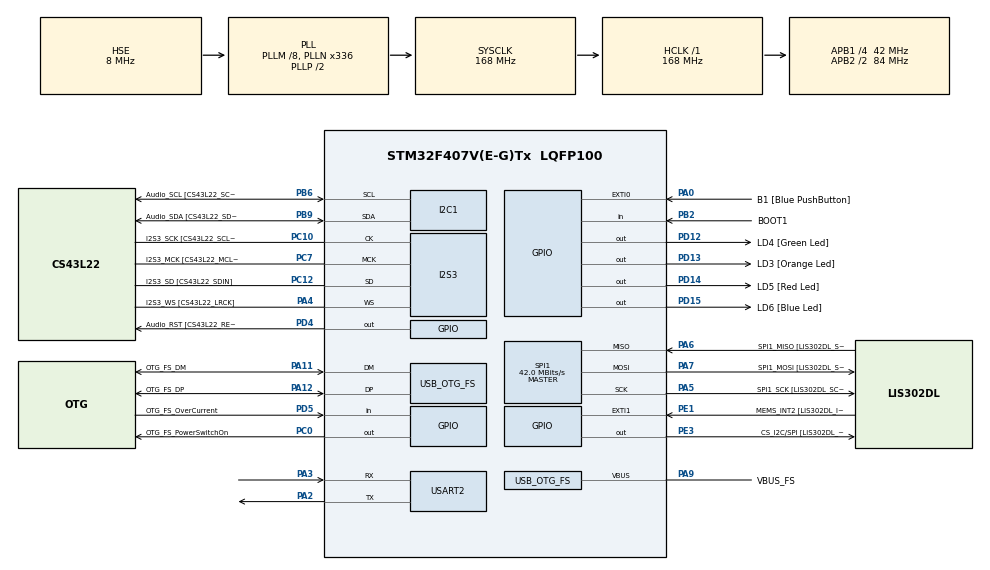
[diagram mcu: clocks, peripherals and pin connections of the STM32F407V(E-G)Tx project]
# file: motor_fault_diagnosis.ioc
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Dma.Request0=USART2_RX
Dma.USART2_RX.0.Direction=DMA_PERIPH_TO_MEMORY
Dma.USART2_RX.0.FIFOMode=DMA_FIFOMODE_DISABLE
Dma.USART2_RX.0.Instance=DMA1_Stream5
Dma.USART2_RX.0.MemDataAlignment=DMA_MDATAALIGN_BYTE
Dma.USART2_RX.0.MemInc=DMA_MINC_ENABLE
Dma.USART2_RX.0.Mode=DMA_NORMAL
Dma.USART2_RX.0.PeriphDataAlignment=DMA_PDATAALIGN_BYTE
Dma.USART2_RX.0.PeriphInc=DMA_PINC_DISABLE
Dma.USART2_RX.0.Priority=DMA_PRIORITY_HIGH
I2S3.AudioFreq-Half_Duplex_Master=I2S_AUDIOFREQ_96K
I2S3.ErrorAudioFreq=-2.34 %
I2S3.ErrorAudioFreq-Half_Duplex_Master=0.8 %
I2S3.FullDuplexMode=I2S_FULLDUPLEXMODE_DISABLE
I2S3.Instance=SPI$Index
I2S3.RealAudioFreq=93.75 KHz
I2S3.RealAudioFreq-Half_Duplex_Master=96.774 KHz
I2S3.VirtualMode=I2S_MODE_MASTER
Mcu.Family=STM32F4
Mcu.Name=STM32F407V(E-G)Tx
Mcu.Package=LQFP100
NVIC.DMA1_Stream5_IRQn=true\:0\:0\:false\:false\:true\:false\:true\:true
NVIC.OTG_FS_IRQn=true\:0\:0\:false\:false\:true\:true\:true\:true
NVIC.PriorityGroup=NVIC_PRIORITYGROUP_0
NVIC.USART2_IRQn=true\:0\:0\:false\:false\:true\:true\:true\:true
PA0-WKUP.GPIO_Label=B1 [Blue PushButton]
PA0-WKUP.GPIO_ModeDefaultEXTI=GPIO_MODE_EVT_RISING
PA0-WKUP.GPIO_PuPd=GPIO_NOPULL
PA0-WKUP.Signal=GPXTI0
PA10.GPIO_Label=OTG_FS_ID
PA10.GPIO_Mode=GPIO_MODE_AF_PP
PA10.GPIO_PuPd=GPIO_NOPULL
PA10.GPIO_Speed=GPIO_SPEED_FREQ_LOW
PA10.Signal=USB_OTG_FS_ID
PA11.GPIO_Label=OTG_FS_DM
PA11.GPIO_Mode=GPIO_MODE_AF_PP
PA11.GPIO_PuPd=GPIO_NOPULL
PA11.GPIO_Speed=GPIO_SPEED_FREQ_LOW
PA11.Mode=Host_Only
PA11.Signal=USB_OTG_FS_DM
PA12.GPIO_Label=OTG_FS_DP
PA12.GPIO_Mode=GPIO_MODE_AF_PP
PA12.GPIO_PuPd=GPIO_NOPULL
PA12.GPIO_Speed=GPIO_SPEED_FREQ_LOW
PA12.Mode=Host_Only
PA12.Signal=USB_OTG_FS_DP
PA13.GPIO_Label=SWDIO
PA13.Mode=Serial_Wire
PA13.Signal=SYS_JTMS-SWDIO
PA14.GPIO_Label=SWCLK
PA14.Mode=Serial_Wire
PA14.Signal=SYS_JTCK-SWCLK
PA2.Mode=Asynchronous
PA2.Signal=USART2_TX
PA3.Mode=Asynchronous
PA3.Signal=USART2_RX
PA4.GPIO_Label=I2S3_WS [CS43L22_LRCK]
PA4.GPIO_Mode=GPIO_MODE_AF_PP
PA4.GPIO_PuPd=GPIO_NOPULL
PA4.GPIO_Speed=GPIO_SPEED_FREQ_LOW
PA4.Mode=Half_Duplex_Master
PA4.Signal=I2S3_WS
PA5.GPIO_Label=SPI1_SCK [LIS302DL_SCL/SPC]
PA5.GPIO_Mode=GPIO_MODE_AF_PP
PA5.GPIO_PuPd=GPIO_NOPULL
PA5.GPIO_Speed=GPIO_SPEED_FREQ_LOW
PA5.Mode=Full_Duplex_Master
PA5.Signal=SPI1_SCK
PA6.GPIO_Label=SPI1_MISO [LIS302DL_SDO]
PA6.GPIO_Mode=GPIO_MODE_AF_PP
PA6.GPIO_PuPd=GPIO_NOPULL
PA6.GPIO_Speed=GPIO_SPEED_FREQ_LOW
PA6.Mode=Full_Duplex_Master
PA6.Signal=SPI1_MISO
PA7.GPIO_Label=SPI1_MOSI [LIS302DL_SDA/SDI/SDO]
PA7.GPIO_Mode=GPIO_MODE_AF_PP
PA7.GPIO_PuPd=GPIO_NOPULL
PA7.GPIO_Speed=GPIO_SPEED_FREQ_LOW
PA7.Mode=Full_Duplex_Master
PA7.Signal=SPI1_MOSI
PA9.GPIO_Label=VBUS_FS
PA9.GPIO_Mode=GPIO_MODE_INPUT
PA9.GPIO_PuPd=GPIO_NOPULL
PA9.Mode=Activate_VBUS
PA9.Signal=USB_OTG_FS_VBUS
PB10.GPIO_Label=CLK_IN [MP45DT02_CLK]
PB10.GPIO_Mode=GPIO_MODE_AF_PP
PB10.GPIO_PuPd=GPIO_NOPULL
PB10.GPIO_Speed=GPIO_SPEED_FREQ_LOW
PB10.Signal=I2S2_CK
PB2.GPIO_Label=BOOT1
PB2.GPIO_Mode=GPIO_MODE_INPUT
PB2.GPIO_PuPd=GPIO_NOPULL
PB2.Signal=GPIO_Input
PB3.GPIO_Label=SWO
PB3.Signal=SYS_JTDO-SWO
PB6.GPIO_Label=Audio_SCL [CS43L22_SCL]
PB6.GPIO_Mode=GPIO_MODE_AF_OD
PB6.GPIO_Pu=GPIO_PULLUP
PB6.GPIO_PuPd=GPIO_NOPULL
PB6.GPIO_Speed=GPIO_SPEED_FREQ_LOW
PB6.Mode=I2C
PB6.Signal=I2C1_SCL
PB9.GPIO_Label=Audio_SDA [CS43L22_SDA]
PB9.GPIO_Mode=GPIO_MODE_AF_OD
PB9.GPIO_Pu=GPIO_PULLUP
PB9.GPIO_PuPd=GPIO_NOPULL
PB9.GPIO_Speed=GPIO_SPEED_FREQ_LOW
PB9.Mode=I2C
PB9.Signal=I2C1_SDA
PC0.GPIO_Label=OTG_FS_PowerSwitchOn
PC0.GPIO_PuPd=GPIO_NOPULL
PC0.GPIO_Speed=GPIO_SPEED_FREQ_LOW
PC0.PinState=GPIO_PIN_SET
PC0.Signal=GPIO_Output
PC10.GPIO_Label=I2S3_SCK [CS43L22_SCLK]
PC10.GPIO_Mode=GPIO_MODE_AF_PP
PC10.GPIO_PuPd=GPIO_NOPULL
PC10.GPIO_Speed=GPIO_SPEED_FREQ_LOW
PC10.Mode=Half_Duplex_Master
PC10.Signal=I2S3_CK
PC12.GPIO_Label=I2S3_SD [CS43L22_SDIN]
PC12.GPIO_Mode=GPIO_MODE_AF_PP
PC12.GPIO_PuPd=GPIO_NOPULL
PC12.GPIO_Speed=GPIO_SPEED_FREQ_LOW
PC12.Mode=Half_Duplex_Master
PC12.Signal=I2S3_SD
PC14-OSC32_IN.GPIO_Label=PC14-OSC32_IN
PC14-OSC32_IN.Mode=LSE-External-Oscillator
PC14-OSC32_IN.Signal=RCC_OSC32_IN
PC15-OSC32_OUT.GPIO_Label=PC15-OSC32_OUT
PC15-OSC32_OUT.Mode=LSE-External-Oscillator
PC15-OSC32_OUT.Signal=RCC_OSC32_OUT
PC3.GPIO_Label=PDM_OUT [MP45DT02_DOUT]
PC3.GPIO_Mode=GPIO_MODE_AF_PP
PC3.GPIO_PuPd=GPIO_NOPULL
PC3.GPIO_Speed=GPIO_SPEED_FREQ_LOW
PC3.Signal=I2S2_SD
PC7.GPIO_Label=I2S3_MCK [CS43L22_MCLK]
PC7.GPIO_Mode=GPIO_MODE_AF_PP
PC7.GPIO_PuPd=GPIO_NOPULL
PC7.GPIO_Speed=GPIO_SPEED_FREQ_LOW
PC7.Mode=Master_Clock_Activated
PC7.Signal=I2S3_MCK
PD12.GPIO_Label=LD4 [Green Led]
PD12.GPIO_PuPd=GPIO_NOPULL
PD12.GPIO_Speed=GPIO_SPEED_FREQ_LOW
PD12.Signal=GPIO_Output
PD13.GPIO_Label=LD3 [Orange Led]
PD13.GPIO_PuPd=GPIO_NOPULL
PD13.GPIO_Speed=GPIO_SPEED_FREQ_LOW
PD13.Signal=GPIO_Output
PD14.GPIO_Label=LD5 [Red Led]
PD14.GPIO_PuPd=GPIO_NOPULL
PD14.GPIO_Speed=GPIO_SPEED_FREQ_LOW
PD14.Signal=GPIO_Output
PD15.GPIO_Label=LD6 [Blue Led]
PD15.GPIO_PuPd=GPIO_NOPULL
PD15.GPIO_Speed=GPIO_SPEED_FREQ_LOW
PD15.Signal=GPIO_Output
PD4.GPIO_Label=Audio_RST [CS43L22_RESET]
PD4.GPIO_PuPd=GPIO_NOPULL
PD4.GPIO_Speed=GPIO_SPEED_FREQ_LOW
PD4.Signal=GPIO_Output
PD5.GPIO_Label=OTG_FS_OverCurrent
PD5.GPIO_Mode=GPIO_MODE_INPUT
PD5.GPIO_PuPd=GPIO_NOPULL
PD5.Signal=GPIO_Input
PE1.GPIO_Label=MEMS_INT2 [LIS302DL_INT2]
PE1.GPIO_ModeDefaultEXTI=GPIO_MODE_EVT_RISING
PE1.GPIO_PuPd=GPIO_NOPULL
PE1.Signal=GPXTI1
PE3.GPIO_Label=CS_I2C/SPI [LIS302DL_CS_I2C/SPI]
PE3.GPIO_PuPd=GPIO_NOPULL
PE3.GPIO_Speed=GPIO_SPEED_FREQ_LOW
PE3.Signal=GPIO_Output
PH0-OSC_IN.GPIO_Label=PH0-OSC_IN
PH0-OSC_IN.Mode=HSE-External-Oscillator
PH0-OSC_IN.Signal=RCC_OSC_IN
PH1-OSC_OUT.GPIO_Label=PH1-OSC_OUT
PH1-OSC_OUT.Mode=HSE-External-Oscillator
PH1-OSC_OUT.Signal=RCC_OSC_OUT
ProjectManager.HeapSize=0x2000
ProjectManager.StackSize=0x4000
ProjectManager.TargetToolchain=STM32CubeIDE
RCC.48MHZClocksFreq_Value=48000000
RCC.AHBFreq_Value=168000000
RCC.APB1CLKDivider=RCC_HCLK_DIV4
RCC.APB1Freq_Value=42000000
RCC.APB1TimFreq_Value=84000000
RCC.APB2CLKDivider=RCC_HCLK_DIV2
RCC.APB2Freq_Value=84000000
RCC.APB2TimFreq_Value=168000000
RCC.CortexFreq_Value=168000000
RCC.HCLKFreq_Value=168000000
RCC.HSE_VALUE=8000000
RCC.HSI_VALUE=16000000
RCC.PLLM=8
RCC.PLLN=336
RCC.PLLQ=7
RCC.SYSCLKFreq_VALUE=168000000
RCC.SYSCLKSource=RCC_SYSCLKSOURCE_PLLCLK
RCC.VCOOutputFreq_Value=336000000
SPI1.BaudRatePrescaler=SPI_BAUDRATEPRESCALER_2
SPI1.BaudRatePrescaler-Full_Duplex_Master=SPI_BAUDRATEPRESCALER_2
SPI1.CalculateBaudRate=42.0 MBits/s
SPI1.CalculateBaudRate-Full_Duplex_Master=42.0 MBits/s
SPI1.Direction=SPI_DIRECTION_2LINES
SPI1.Mode=SPI_MODE_MASTER
SPI1.Mode-Full_Duplex_Master=SPI_MODE_MASTER
SPI1.VirtualType=VM_MASTER
STMicroelectronics.X-CUBE-AI.10.1.0.ActivationBufferSizeList=41244
STMicroelectronics.X-CUBE-AI.10.1.0.ActivationBuffers=pool0
STMicroelectronics.X-CUBE-AI.10.1.0.ActivationNames=pool0
STMicroelectronics.X-CUBE-AI.10.1.0.ActivationSizes=AI_CNN_DATA_ACTIVATION_1_SIZE
STMicroelectronics.X-CUBE-AI.10.1.0.ApplicationCcDeviceJjApplication=ApplicationTemplate
STMicroelectronics.X-CUBE-AI.10.1.0.HeapSize=0x2000
STMicroelectronics.X-CUBE-AI.10.1.0.InternalRamActivationBufferMaxSize=AI_CNN_DATA_ACTIVATIONS_SIZE
STMicroelectronics.X-CUBE-AI.10.1.0.LatestDirectoryUsed-5c631035501834cc7f4f909fd330d3be70c8ab53b2a035d140b49c0a9e1963ff=/Users/zongyan/Desktop/EMTRC/sound/UOEMD_VAFCVS
STMicroelectronics.X-CUBE-AI.10.1.0.MaximumNumberOfInputLayer=1
STMicroelectronics.X-CUBE-AI.10.1.0.MaximumNumberOfOutputLayer=1
STMicroelectronics.X-CUBE-AI.10.1.0.MaximumSizeOfInputLayer=1
STMicroelectronics.X-CUBE-AI.10.1.0.MaximumSizeOfOutputLayer=1
STMicroelectronics.X-CUBE-AI.10.1.0.ModelActualCompression-5c631035501834cc7f4f909fd330d3be70c8ab53b2a035d140b49c0a9e1963ff=0.0
STMicroelectronics.X-CUBE-AI.10.1.0.ModelCompression-5c631035501834cc7f4f909fd330d3be70c8ab53b2a035d140b49c0a9e1963ff=None
STMicroelectronics.X-CUBE-AI.10.1.0.ModelFlashOccupation-5c631035501834cc7f4f909fd330d3be70c8ab53b2a035d140b49c0a9e1963ff=161860
STMicroelectronics.X-CUBE-AI.10.1.0.ModelHashList=5c631035501834cc7f4f909fd330d3be70c8ab53b2a035d140b49c0a9e1963ff
STMicroelectronics.X-CUBE-AI.10.1.0.ModelKind-5c631035501834cc7f4f909fd330d3be70c8ab53b2a035d140b49c0a9e1963ff=TFLITE
STMicroelectronics.X-CUBE-AI.10.1.0.ModelMacc-5c631035501834cc7f4f909fd330d3be70c8ab53b2a035d140b49c0a9e1963ff=1704147
STMicroelectronics.X-CUBE-AI.10.1.0.ModelName-5c631035501834cc7f4f909fd330d3be70c8ab53b2a035d140b49c0a9e1963ff=cnn
STMicroelectronics.X-CUBE-AI.10.1.0.ModelNameList=cnn
STMicroelectronics.X-CUBE-AI.10.1.0.ModelRamOccupation-5c631035501834cc7f4f909fd330d3be70c8ab53b2a035d140b49c0a9e1963ff=37892
STMicroelectronics.X-CUBE-AI.10.1.0.ModelStructureFile-5c631035501834cc7f4f909fd330d3be70c8ab53b2a035d140b49c0a9e1963ff=/Users/zongyan/Desktop/EMTRC/sound/UOEMD_VAFCVS/best_shallow_cnn_model.tflite
STMicroelectronics.X-CUBE-AI.10.1.0.ModelType-5c631035501834cc7f4f909fd330d3be70c8ab53b2a035d140b49c0a9e1963ff=STM32Cube.AI MCU runtime
STMicroelectronics.X-CUBE-AI.10.1.0.ReadyForCodeGeneration=true
STMicroelectronics.X-CUBE-AI.10.1.0.StackSize=0x4000
STMicroelectronics.X-CUBE-AI.10.1.0.ValidationInputFile-5c631035501834cc7f4f909fd330d3be70c8ab53b2a035d140b49c0a9e1963ff=/Users/zongyan/Desktop/EMTRC/sound/UOEMD_VAFCVS/X_test_small.npy
STMicroelectronics.X-CUBE-AI.10.1.0.ValidationInputFileHistory-5c631035501834cc7f4f909fd330d3be70c8ab53b2a035d140b49c0a9e1963ff=/Users/zongyan/Desktop/EMTRC/sound/UOEMD_VAFCVS/X_test_final.npy,/Users/zongyan/Desktop/EMTRC/sound/UOEMD_VAFCVS/X_test_small.npy,/Users/zongyan/Desktop/EMTRC/sound/UOEMD_VAFCVS/X_test_stft.npy
STMicroelectronics.X-CUBE-AI.10.1.0.ValidationOutputFile-5c631035501834cc7f4f909fd330d3be70c8ab53b2a035d140b49c0a9e1963ff=/Users/zongyan/Desktop/EMTRC/sound/UOEMD_VAFCVS/y_test.npy
STMicroelectronics.X-CUBE-AI.10.1.0.ValidationOutputFileHistory-5c631035501834cc7f4f909fd330d3be70c8ab53b2a035d140b49c0a9e1963ff=/Users/zongyan/Desktop/EMTRC/sound/UOEMD_VAFCVS/y_test_final.npy,/Users/zongyan/Desktop/EMTRC/sound/UOEMD_VAFCVS/y_test.npy
STMicroelectronics.X-CUBE-AI.10.1.0.WorkingBufferStartAddrList=0xFFFFFFFF
STMicroelectronics.X-CUBE-AI.10.1.0.XAaCUBEAaAICcArtificialOoIntelligenceJjCore=true
STMicroelectronics.X-CUBE-AI.10.1.0.copyWeightToRam-5c631035501834cc7f4f909fd330d3be70c8ab53b2a035d140b49c0a9e1963ff=false
STMicroelectronics.X-CUBE-AI.10.1.0.customLayerConfigEnabled-5c631035501834cc7f4f909fd330d3be70c8ab53b2a035d140b49c0a9e1963ff=false
STMicroelectronics.X-CUBE-AI.10.1.0.noOnnxIoTranspose-5c631035501834cc7f4f909fd330d3be70c8ab53b2a035d140b49c0a9e1963ff=false
STMicroelectronics.X-CUBE-AI.10.1.0.outputDirectory-5c631035501834cc7f4f909fd330d3be70c8ab53b2a035d140b49c0a9e1963ff=/Users/zongyan/.stm32cubemx/cnn_output
STMicroelectronics.X-CUBE-AI.10.1.0.useInputAllocation-5c631035501834cc7f4f909fd330d3be70c8ab53b2a035d140b49c0a9e1963ff=true
STMicroelectronics.X-CUBE-AI.10.1.0.useOutputAllocation-5c631035501834cc7f4f909fd330d3be70c8ab53b2a035d140b49c0a9e1963ff=true
USART2.VirtualMode=VM_ASYNC
USB_HOST.BSP.number=1
USB_HOST.USBH_HandleTypeDef-CDC_FS=hUsbHostFS
USB_HOST.VirtualModeFS=Cdc
USB_HOST0.BSP.STBoard=false
USB_HOST0.BSP.api=Unknown
USB_HOST0.BSP.instance=PC0
USB_HOST0.BSP.ip=GPIO
USB_HOST0.BSP.mode=Output
USB_HOST0.BSP.name=Drive_VBUS_FS
USB_HOST0.BSP.solution=PC0
USB_OTG_FS.VirtualMode=Host_Only
USB_OTG_FS.phy_itface=HCD_PHY_EMBEDDED
VP_CRC_VS_CRC.Mode=CRC_Activate
VP_STMicroelectronics.X-CUBE-AI_VS_ArtificialOoIntelligenceJjXAaCUBEAaAI_10.1.0.Mode=ArtificialOoIntelligenceJjXAaCUBEAaAI
VP_STMicroelectronics.X-CUBE-AI_VS_DeviceJjApplication_10.1.0.Mode=DeviceJjApplication
VP_USB_HOST_VS_USB_HOST_CDC_FS.Mode=CDC_FS
board=STM32F407G-DISC1

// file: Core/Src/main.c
//Motor Fault Diagnosis code (C)
/* USER CODE BEGIN Header */
/**
 ******************************************************************************
 * @file           : main.c
 * @brief          : 簡化版 STFT 資料接收測試
 ******************************************************************************
 */
/* USER CODE END Header */
#include "main.h"
#include "usb_host.h"
#include <stdio.h>
#include <string.h>
#include <math.h>

#include "app_x-cube-ai.h"
#include "ai_datatypes_defines.h"
#include "ai_platform.h"
#include "cnn.h"
#include "cnn_data.h"
#include "cnn_data_params.h"

CRC_HandleTypeDef hcrc;

I2C_HandleTypeDef hi2c1;

I2S_HandleTypeDef hi2s3;

SPI_HandleTypeDef hspi1;

UART_HandleTypeDef huart2;
DMA_HandleTypeDef hdma_usart2_rx;

/* USER CODE BEGIN PV */
static uint8_t uart_dma_rx_buffer[4098];
__attribute__((section(".ccmram"))) static float normalized_stft[4096];
volatile uint8_t uart_dma_rx_done = 0;

volatile uint8_t diagnosis_result = 0;  // 0: 健康, 1: 故障
volatile float confidence_score = 0.0f;

extern ai_i8* data_ins[];
extern ai_i8* data_outs[];
extern int ai_run(void);
/* USER CODE END PV */

void SystemClock_Config(void);
static void MX_GPIO_Init(void);
static void MX_DMA_Init(void);
static void MX_I2C1_Init(void);
static void MX_I2S3_Init(void);
static void MX_SPI1_Init(void);
static void MX_USART2_UART_Init(void);
static void MX_CRC_Init(void);
void MX_USB_HOST_Process(void);

/* USER CODE BEGIN PFP */
void HAL_UART_RxCpltCallback(UART_HandleTypeDef *huart);
/* USER CODE END PFP */

/* USER CODE BEGIN 0 */
/**
 * @brief  正規化 STFT 數據到 [0,1] 範圍
 * @param  raw_data: 原始 8-bit 數據
 * @param  normalized_data: 正規化後的 float 數據
 */
void normalize_stft_data(uint8_t* raw_data, float* normalized_data)
{
    for (int i = 0; i < 4096; i++) {
        // 數據 (0-255) 正規化到 [0,1]
        normalized_data[i] = (float)raw_data[i] / 255.0f;
    }
}

/**
 * @brief  執行 CNN 推論
 * @param  stft_data: 正規化後的 STFT 數據
 * @return 推論結果 (0-1 之間的機率值)
 */
float perform_cnn_inference(float* stft_data)
{
    // 檢查 AI 模型是否已初始化
    if (data_ins[0] == NULL || data_outs[0] == NULL) {
        printf("AI model not initialized!\r\n");
        return -1.0f;
    }

    // 將 float 數據轉換為 ai_i8 格式並複製到輸入緩衝區
    for (int i = 0; i < 4096; i++) {
        // 根據模型需求進行數據格式轉換
        ((float*)data_ins[0])[i] = stft_data[i];
    }

    printf("Starting CNN inference...\r\n");

    // 執行 AI 推論
    if (ai_run() != 0) {
        printf("CNN inference failed!\r\n");
        return -1.0f;
    }

    // 獲取輸出結果 (sigmoid 輸出，範圍 0-1)
    float* output_data = (float*)data_outs[0];
    float result = output_data[0];

    printf("CNN inference completed. Result: %.4f\r\n", result);

    return result;
}

/**
 * @brief  根據推論結果更新診斷狀態和 LED
 * @param  inference_result: CNN 推論結果
 */
void update_diagnosis_status(float inference_result)
{
    confidence_score = inference_result;

    // 根據搜尋結果中的論文，使用 0.5 作為閾值
    if (inference_result > 0.5) {
        diagnosis_result = 1;  // 故障
        printf("DIAGNOSIS: FAULT detected (confidence: %.4f)\r\n", inference_result);

        // 紅燈亮起表示故障
        HAL_GPIO_WritePin(GPIOD, LD5_Pin, GPIO_PIN_SET);
        HAL_GPIO_WritePin(GPIOD, LD4_Pin | LD6_Pin, GPIO_PIN_RESET);

    } else {
        diagnosis_result = 0;  // 健康
        printf("DIAGNOSIS: HEALTHY motor (confidence: %.4f)\r\n", 1.0f - inference_result);

        // 綠燈亮起表示健康
        HAL_GPIO_WritePin(GPIOD, LD4_Pin, GPIO_PIN_SET);
        HAL_GPIO_WritePin(GPIOD, LD5_Pin | LD6_Pin, GPIO_PIN_RESET);
    }
}

/**
 * @brief  AI 初始化檢查
 */
int ai_init_check(void)
{
    printf("Checking AI model initialization...\r\n");

    // 檢查輸入輸出緩衝區是否正確設定
    if (data_ins[0] == NULL) {
        printf("ERROR: AI input buffer not initialized!\r\n");
        return -1;
    }

    if (data_outs[0] == NULL) {
        printf("ERROR: AI output buffer not initialized!\r\n");
        return -1;
    }

    printf("AI model ready for inference\r\n");
    return 0;
}
/* USER CODE END 0 */

int main(void)
{

  /* MCU Configuration--------------------------------------------------------*/

  /* Reset of all peripherals, Initializes the Flash interface and the Systick. */
  HAL_Init();

  /* Configure the system clock */
  SystemClock_Config();

  /* Initialize all configured peripherals */
  MX_GPIO_Init();
  MX_DMA_Init();
  MX_I2C1_Init();
  MX_I2S3_Init();
  MX_SPI1_Init();
  MX_USB_HOST_Init();
  MX_USART2_UART_Init();
  MX_CRC_Init();
  /* USER CODE BEGIN 2 */
  printf("=== Motor Fault Diagnosis System ===\r\n");
  //fflush(stdout);
  printf("Based on STFT image + Shallow CNN\r\n");
  //fflush(stdout);

  // 初始化LED狀態（全部關閉）
  HAL_GPIO_WritePin(GPIOD, LD4_Pin | LD5_Pin | LD6_Pin, GPIO_PIN_RESET);

  // 初始化 X-CUBE-AI
  printf("Initializing AI model...\r\n");
  MX_X_CUBE_AI_Init();

  // 檢查 AI 初始化狀態
  if (ai_init_check() != 0) {
      printf("AI initialization failed!\r\n");
      // 藍燈表示初始化錯誤
      HAL_GPIO_WritePin(GPIOD, LD6_Pin, GPIO_PIN_SET);
      Error_Handler();
  }

  printf("System ready. Waiting for STFT data...\r\n");

  // 啟動UART DMA批次接收
  HAL_UART_Receive_DMA(&huart2, uart_dma_rx_buffer, 4098);
  /* USER CODE END 2 */

  /* Infinite loop */
  while (1)
  {
    MX_USB_HOST_Process();

    /* USER CODE BEGIN 3 */
    if (uart_dma_rx_done) {
        uart_dma_rx_done = 0;

        // 檢查數據完整性
        if (uart_dma_rx_buffer[0] == 0xFF && uart_dma_rx_buffer[4097] == 0xFE) {
            printf("STFT data received successfully!\r\n");

            // 步驟 1: 數據正規化
            printf("Normalizing STFT data...\r\n");
            normalize_stft_data(&uart_dma_rx_buffer[1], normalized_stft);

            // 步驟 2: 執行 CNN 推論
            printf("Performing CNN inference...\r\n");
            float inference_result = perform_cnn_inference(normalized_stft);

            // 步驟 3: 處理推論結果
            if (inference_result >= 0.0f) {
                update_diagnosis_status(inference_result);

                // 發送診斷結果回 Python 端
                if (diagnosis_result == 1) {
                    printf("RESULT: FAULT_DETECTED,%.4f\r\n", confidence_score);
                } else {
                    printf("RESULT: MOTOR_HEALTHY,%.4f\r\n", confidence_score);
                }
            } else {
                printf("Inference failed! Check AI model.\r\n");
                // 藍燈表示推論錯誤
                HAL_GPIO_WritePin(GPIOD, LD6_Pin, GPIO_PIN_SET);
                HAL_GPIO_WritePin(GPIOD, LD4_Pin | LD5_Pin, GPIO_PIN_RESET);
            }

        } else {
            printf("Invalid STFT data received!\r\n");
            // 橙燈表示數據錯誤
            HAL_GPIO_WritePin(GPIOD, LD3_Pin, GPIO_PIN_SET);
            HAL_GPIO_WritePin(GPIOD, LD4_Pin | LD5_Pin | LD6_Pin, GPIO_PIN_RESET);
        }

        // 重新啟動 DMA 接收
        HAL_UART_Receive_DMA(&huart2, uart_dma_rx_buffer, 4098);
    }
    /* USER CODE END 3 */

  }
}

void SystemClock_Config(void)
{
  RCC_OscInitTypeDef RCC_OscInitStruct = {0};
  RCC_ClkInitTypeDef RCC_ClkInitStruct = {0};

  /** Configure the main internal regulator output voltage
  */
  __HAL_RCC_PWR_CLK_ENABLE();
  __HAL_PWR_VOLTAGESCALING_CONFIG(PWR_REGULATOR_VOLTAGE_SCALE1);

  /** Initializes the RCC Oscillators according to the specified parameters
  * in the RCC_OscInitTypeDef structure.
  */
  RCC_OscInitStruct.OscillatorType = RCC_OSCILLATORTYPE_HSE;
  RCC_OscInitStruct.HSEState = RCC_HSE_ON;
  RCC_OscInitStruct.PLL.PLLState = RCC_PLL_ON;
  RCC_OscInitStruct.PLL.PLLSource = RCC_PLLSOURCE_HSE;
  RCC_OscInitStruct.PLL.PLLM = 8;
  RCC_OscInitStruct.PLL.PLLN = 336;
  RCC_OscInitStruct.PLL.PLLP = RCC_PLLP_DIV2;
  RCC_OscInitStruct.PLL.PLLQ = 7;
  if (HAL_RCC_OscConfig(&RCC_OscInitStruct) != HAL_OK)
  {
    Error_Handler();
  }

  /** Initializes the CPU, AHB and APB buses clocks
  */
  RCC_ClkInitStruct.ClockType = RCC_CLOCKTYPE_HCLK|RCC_CLOCKTYPE_SYSCLK
                              |RCC_CLOCKTYPE_PCLK1|RCC_CLOCKTYPE_PCLK2;
  RCC_ClkInitStruct.SYSCLKSource = RCC_SYSCLKSOURCE_PLLCLK;
  RCC_ClkInitStruct.AHBCLKDivider = RCC_SYSCLK_DIV1;
  RCC_ClkInitStruct.APB1CLKDivider = RCC_HCLK_DIV4;
  RCC_ClkInitStruct.APB2CLKDivider = RCC_HCLK_DIV2;

  if (HAL_RCC_ClockConfig(&RCC_ClkInitStruct, FLASH_LATENCY_5) != HAL_OK)
  {
    Error_Handler();
  }
}

static void MX_CRC_Init(void)
{

  hcrc.Instance = CRC;
  if (HAL_CRC_Init(&hcrc) != HAL_OK)
  {
    Error_Handler();
  }

}

static void MX_I2C1_Init(void)
{

  hi2c1.Instance = I2C1;
  hi2c1.Init.ClockSpeed = 100000;
  hi2c1.Init.DutyCycle = I2C_DUTYCYCLE_2;
  hi2c1.Init.OwnAddress1 = 0;
  hi2c1.Init.AddressingMode = I2C_ADDRESSINGMODE_7BIT;
  hi2c1.Init.DualAddressMode = I2C_DUALADDRESS_DISABLE;
  hi2c1.Init.OwnAddress2 = 0;
  hi2c1.Init.GeneralCallMode = I2C_GENERALCALL_DISABLE;
  hi2c1.Init.NoStretchMode = I2C_NOSTRETCH_DISABLE;
  if (HAL_I2C_Init(&hi2c1) != HAL_OK)
  {
    Error_Handler();
  }

}

static void MX_I2S3_Init(void)
{

  hi2s3.Instance = SPI3;
  hi2s3.Init.Mode = I2S_MODE_MASTER_TX;
  hi2s3.Init.Standard = I2S_STANDARD_PHILIPS;
  hi2s3.Init.DataFormat = I2S_DATAFORMAT_16B;
  hi2s3.Init.MCLKOutput = I2S_MCLKOUTPUT_ENABLE;
  hi2s3.Init.AudioFreq = I2S_AUDIOFREQ_96K;
  hi2s3.Init.CPOL = I2S_CPOL_LOW;
  hi2s3.Init.ClockSource = I2S_CLOCK_PLL;
  hi2s3.Init.FullDuplexMode = I2S_FULLDUPLEXMODE_DISABLE;
  if (HAL_I2S_Init(&hi2s3) != HAL_OK)
  {
    Error_Handler();
  }

}

static void MX_SPI1_Init(void)
{

  /* SPI1 parameter configuration*/
  hspi1.Instance = SPI1;
  hspi1.Init.Mode = SPI_MODE_MASTER;
  hspi1.Init.Direction = SPI_DIRECTION_2LINES;
  hspi1.Init.DataSize = SPI_DATASIZE_8BIT;
  hspi1.Init.CLKPolarity = SPI_POLARITY_LOW;
  hspi1.Init.CLKPhase = SPI_PHASE_1EDGE;
  hspi1.Init.NSS = SPI_NSS_SOFT;
  hspi1.Init.BaudRatePrescaler = SPI_BAUDRATEPRESCALER_2;
  hspi1.Init.FirstBit = SPI_FIRSTBIT_MSB;
  hspi1.Init.TIMode = SPI_TIMODE_DISABLE;
  hspi1.Init.CRCCalculation = SPI_CRCCALCULATION_DISABLE;
  hspi1.Init.CRCPolynomial = 10;
  if (HAL_SPI_Init(&hspi1) != HAL_OK)
  {
    Error_Handler();
  }

}

static void MX_USART2_UART_Init(void)
{

  huart2.Instance = USART2;
  huart2.Init.BaudRate = 115200;
  huart2.Init.WordLength = UART_WORDLENGTH_8B;
  huart2.Init.StopBits = UART_STOPBITS_1;
  huart2.Init.Parity = UART_PARITY_NONE;
  huart2.Init.Mode = UART_MODE_TX_RX;
  huart2.Init.HwFlowCtl = UART_HWCONTROL_NONE;
  huart2.Init.OverSampling = UART_OVERSAMPLING_16;
  if (HAL_UART_Init(&huart2) != HAL_OK)
  {
    Error_Handler();
  }

}

static void MX_DMA_Init(void)
{

  /* DMA controller clock enable */
  __HAL_RCC_DMA1_CLK_ENABLE();

  /* DMA interrupt init */
  /* DMA1_Stream5_IRQn interrupt configuration */
  HAL_NVIC_SetPriority(DMA1_Stream5_IRQn, 0, 0);
  HAL_NVIC_EnableIRQ(DMA1_Stream5_IRQn);

}

static void MX_GPIO_Init(void)
{
  GPIO_InitTypeDef GPIO_InitStruct = {0};

  /* GPIO Ports Clock Enable */
  __HAL_RCC_GPIOE_CLK_ENABLE();
  __HAL_RCC_GPIOC_CLK_ENABLE();
  __HAL_RCC_GPIOH_CLK_ENABLE();
  __HAL_RCC_GPIOA_CLK_ENABLE();
  __HAL_RCC_GPIOB_CLK_ENABLE();
  __HAL_RCC_GPIOD_CLK_ENABLE();

  /*Configure GPIO pin Output Level */
  HAL_GPIO_WritePin(CS_I2C_SPI_GPIO_Port, CS_I2C_SPI_Pin, GPIO_PIN_RESET);

  /*Configure GPIO pin Output Level */
  HAL_GPIO_WritePin(OTG_FS_PowerSwitchOn_GPIO_Port, OTG_FS_PowerSwitchOn_Pin, GPIO_PIN_SET);

  /*Configure GPIO pin Output Level */
  HAL_GPIO_WritePin(GPIOD, LD4_Pin|LD3_Pin|LD5_Pin|LD6_Pin
                          |Audio_RST_Pin, GPIO_PIN_RESET);

  /*Configure GPIO pin : CS_I2C_SPI_Pin */
  GPIO_InitStruct.Pin = CS_I2C_SPI_Pin;
  GPIO_InitStruct.Mode = GPIO_MODE_OUTPUT_PP;
  GPIO_InitStruct.Pull = GPIO_NOPULL;
  GPIO_InitStruct.Speed = GPIO_SPEED_FREQ_LOW;
  HAL_GPIO_Init(CS_I2C_SPI_GPIO_Port, &GPIO_InitStruct);

  /*Configure GPIO pin : OTG_FS_PowerSwitchOn_Pin */
  GPIO_InitStruct.Pin = OTG_FS_PowerSwitchOn_Pin;
  GPIO_InitStruct.Mode = GPIO_MODE_OUTPUT_PP;
  GPIO_InitStruct.Pull = GPIO_NOPULL;
  GPIO_InitStruct.Speed = GPIO_SPEED_FREQ_LOW;
  HAL_GPIO_Init(OTG_FS_PowerSwitchOn_GPIO_Port, &GPIO_InitStruct);

  /*Configure GPIO pin : PDM_OUT_Pin */
  GPIO_InitStruct.Pin = PDM_OUT_Pin;
  GPIO_InitStruct.Mode = GPIO_MODE_AF_PP;
  GPIO_InitStruct.Pull = GPIO_NOPULL;
  GPIO_InitStruct.Speed = GPIO_SPEED_FREQ_LOW;
  GPIO_InitStruct.Alternate = GPIO_AF5_SPI2;
  HAL_GPIO_Init(PDM_OUT_GPIO_Port, &GPIO_InitStruct);

  /*Configure GPIO pin : B1_Pin */
  GPIO_InitStruct.Pin = B1_Pin;
  GPIO_InitStruct.Mode = GPIO_MODE_EVT_RISING;
  GPIO_InitStruct.Pull = GPIO_NOPULL;
  HAL_GPIO_Init(B1_GPIO_Port, &GPIO_InitStruct);

  /*Configure GPIO pin : BOOT1_Pin */
  GPIO_InitStruct.Pin = BOOT1_Pin;
  GPIO_InitStruct.Mode = GPIO_MODE_INPUT;
  GPIO_InitStruct.Pull = GPIO_NOPULL;
  HAL_GPIO_Init(BOOT1_GPIO_Port, &GPIO_InitStruct);

  /*Configure GPIO pin : CLK_IN_Pin */
  GPIO_InitStruct.Pin = CLK_IN_Pin;
  GPIO_InitStruct.Mode = GPIO_MODE_AF_PP;
  GPIO_InitStruct.Pull = GPIO_NOPULL;
  GPIO_InitStruct.Speed = GPIO_SPEED_FREQ_LOW;
  GPIO_InitStruct.Alternate = GPIO_AF5_SPI2;
  HAL_GPIO_Init(CLK_IN_GPIO_Port, &GPIO_InitStruct);

  /*Configure GPIO pins : LD4_Pin LD3_Pin LD5_Pin LD6_Pin
                           Audio_RST_Pin */
  GPIO_InitStruct.Pin = LD4_Pin|LD3_Pin|LD5_Pin|LD6_Pin
                          |Audio_RST_Pin;
  GPIO_InitStruct.Mode = GPIO_MODE_OUTPUT_PP;
  GPIO_InitStruct.Pull = GPIO_NOPULL;
  GPIO_InitStruct.Speed = GPIO_SPEED_FREQ_LOW;
  HAL_GPIO_Init(GPIOD, &GPIO_InitStruct);

  /*Configure GPIO pin : OTG_FS_OverCurrent_Pin */
  GPIO_InitStruct.Pin = OTG_FS_OverCurrent_Pin;
  GPIO_InitStruct.Mode = GPIO_MODE_INPUT;
  GPIO_InitStruct.Pull = GPIO_NOPULL;
  HAL_GPIO_Init(OTG_FS_OverCurrent_GPIO_Port, &GPIO_InitStruct);

  /*Configure GPIO pin : MEMS_INT2_Pin */
  GPIO_InitStruct.Pin = MEMS_INT2_Pin;
  GPIO_InitStruct.Mode = GPIO_MODE_EVT_RISING;
  GPIO_InitStruct.Pull = GPIO_NOPULL;
  HAL_GPIO_Init(MEMS_INT2_GPIO_Port, &GPIO_InitStruct);

}

/* USER CODE BEGIN 4 */

// 重定向printf到UART2
int _write(int file, char *ptr, int len)
{
    HAL_UART_Transmit(&huart2, (uint8_t*)ptr, len, HAL_MAX_DELAY);
    return len;
}

// 添加 fflush 支援
int _fflush(FILE *file)
{
    return 0;
}

/**
 * @brief  UART接收完成回調函數（簡化版）
 * @param  huart: UART句柄
 */
void HAL_UART_RxCpltCallback(UART_HandleTypeDef *huart)
{
    if (huart->Instance == USART2) {
        uart_dma_rx_done = 1;
    }
}

/* USER CODE END 4 */

void Error_Handler(void)
{
  __disable_irq();
  while (1)
  {
  }
}
